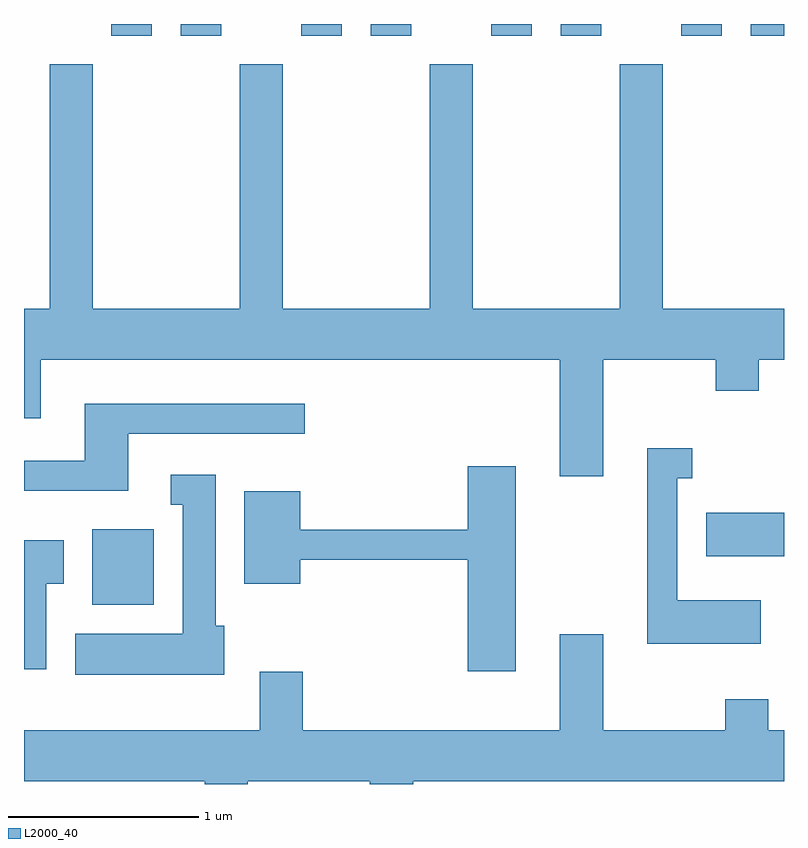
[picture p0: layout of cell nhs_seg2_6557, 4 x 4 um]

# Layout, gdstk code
import gdstk
lib = gdstk.Library(unit=1e-6, precision=1e-09)
def R(c, l, rs):  # rectangles x0, y0, x1, y1
    for r in rs: c.add(gdstk.rectangle(r[:2], r[2:], *l))
def P(c, l, *ps):  # polygons
    for p in ps: c.add(gdstk.Polygon(p, *l))
L2000_40 = (2000, 40)

nhs_seg2_6557 = lib.new_cell('nhs_seg2_6557')
R(nhs_seg2_6557, L2000_40, [(377.971,1104.746,378.294,1105.144), (381.201,1105.001,381.611,1105.229), (378.071,1107.741,378.284,1107.802), (378.436,1107.741,378.649,1107.802), (379.071,1107.741,379.284,1107.802), (379.436,1107.741,379.649,1107.802), (380.071,1107.741,380.284,1107.802), (380.436,1107.741,380.649,1107.802), (381.071,1107.741,381.284,1107.802), (381.436,1107.741,381.611,1107.802)])
P(nhs_seg2_6557, L2000_40, [(380.659,1106.036),(381.251,1106.036),(381.251,1105.871),(381.479,1105.871),(381.479,1106.036),(381.611,1106.036),(381.611,1106.304),(380.974,1106.304),(380.974,1107.589),(380.746,1107.589),(380.746,1106.304),(379.974,1106.304),(379.974,1107.589),(379.746,1107.589),(379.746,1106.304),(378.974,1106.304),(378.974,1107.589),(378.746,1107.589),(378.746,1106.304),(377.974,1106.304),(377.974,1107.589),(377.746,1107.589),(377.746,1106.304),(377.611,1106.304),(377.611,1105.726),(377.699,1105.726),(377.699,1106.036),(380.431,1106.036),(380.431,1105.421),(380.659,1105.421)],
  [(378.159,1105.646),(379.088,1105.646),(379.088,1105.804),(377.931,1105.804),(377.931,1105.504),(377.611,1105.504),(377.611,1105.346),(378.159,1105.346)],
  [(381.489,1104.769),(381.049,1104.769),(381.049,1105.411),(381.128,1105.411),(381.128,1105.569),(380.891,1105.569),(380.891,1104.541),(381.489,1104.541)],
  [(380.199,1105.474),(379.946,1105.474),(379.946,1105.139),(379.064,1105.139),(379.064,1105.344),(378.771,1105.344),(378.771,1104.856),(379.064,1104.856),(379.064,1104.981),(379.946,1104.981),(379.946,1104.396),(380.199,1104.396)],
  [(378.664,1104.634),(378.619,1104.634),(378.619,1105.429),(378.383,1105.429),(378.383,1105.271),(378.446,1105.271),(378.446,1104.594),(377.881,1104.594),(377.881,1104.376),(378.664,1104.376)],
  [(377.729,1104.856),(377.819,1104.856),(377.819,1105.084),(377.611,1105.084),(377.611,1104.406),(377.729,1104.406)],
  [(378.789,1103.816),(379.431,1103.816),(379.431,1103.802),(379.659,1103.802),(379.659,1103.816),(381.611,1103.816),(381.611,1104.084),(381.529,1104.084),(381.529,1104.249),(381.301,1104.249),(381.301,1104.084),(380.659,1104.084),(380.659,1104.589),(380.431,1104.589),(380.431,1104.084),(379.079,1104.084),(379.079,1104.394),(378.851,1104.394),(378.851,1104.084),(377.611,1104.084),(377.611,1103.816),(378.561,1103.816),(378.561,1103.802),(378.789,1103.802)])

lib.write_gds('nhs_seg2_6557.gds')
